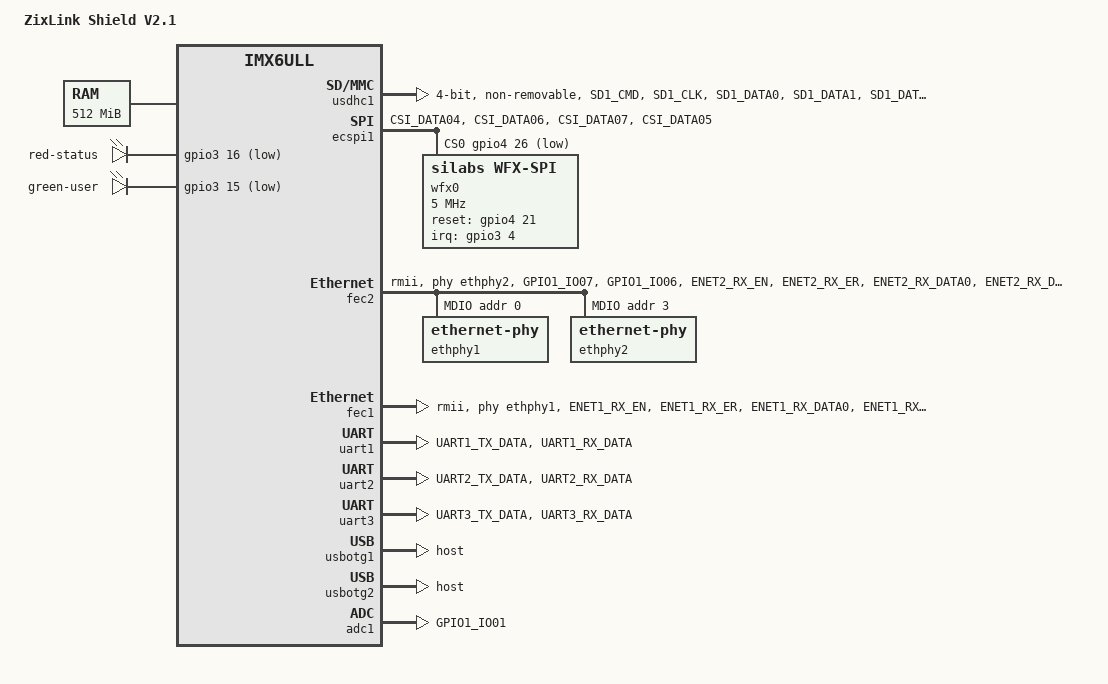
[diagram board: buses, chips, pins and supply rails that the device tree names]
/*
 * Copyright (C) 2020 ZixLink, LLC.
 *
 * This program is free software; you can redistribute it and/or modify
 * it under the terms of the GNU General Public License version 2 as
 * published by the Free Software Foundation.
 */

/dts-v1/;

#include <dt-bindings/input/input.h>
#include "imx6ull.dtsi"

/ {
	model = "ZixLink Shield V2.1";
	compatible = "fsl,zl-shield2-1", "fsl,imx6ull";

	memory {
		reg = <0x80000000 0x20000000>;
	};

	gpio-leds {
		compatible = "gpio-leds";
		pinctrl-names = "default";
		pinctrl-0 = <&pinctrl_leds>;

		status {
			label = "red-status";
			linux,default-trigger = "heartbeat";
			gpios = <&gpio3 16 GPIO_ACTIVE_LOW>;
		};

		user {
			label = "green-user";
			gpios = <&gpio3 15 GPIO_ACTIVE_LOW>;
		};
	};

	/*reg_usbotg1_vbus: regulator-usbotg1-vbus {
		compatible = "regulator-fixed";
		pinctrl-names = "default";
		pinctrl-0 = <&pinctrl_usbotg1_vbus>;
		regulator-name = "usbotg1_vbus";
		regulator-min-microvolt = <5000000>;
		regulator-max-microvolt = <5000000>;
		gpio = <&gpio1 2 GPIO_ACTIVE_HIGH>;
		enable-active-high;
	};*/
};

&usdhc1 {
	pinctrl-names = "default";
	pinctrl-0 = <&pinctrl_usdhc1>;

	bus-width = <4>;
	max-frequency = <50000000>;
	no-1-8-v;
	non-removable;
	disable-wp;
	keep-power-in-suspend;

	status = "okay";
};

&ecspi1 {
	pinctrl-names = "default";
	pinctrl-0 = <&pinctrl_ecspi1>;
	fsl,spi-num-chipselects = <2>;
	cs-gpios = <&gpio4 26 GPIO_ACTIVE_LOW>, <&gpio3 10 GPIO_ACTIVE_LOW>;
	status = "okay";

	#address-cells = <1>;
	#size-cells = <0>;

	wfx0: wfx@0 {
		compatible = "silabs,wfx-spi";
		reg = <0>;
		pinctrl-names = "default";
		pinctrl-0 = <&pinctrl_wfx0>;

		spi-max-frequency = <5000000>; /* 42000000 MAX */

		reset-gpios = <&gpio4 21 GPIO_ACTIVE_HIGH>;
		interrupts-extended = <&gpio3 4 IRQ_TYPE_EDGE_RISING>;
	};
};

&fec2 {
	pinctrl-names = "default";
	pinctrl-0 = <&pinctrl_enet2>;
	phy-mode = "rmii";
	phy-handle = <&ethphy2>;
	status = "okay";

	mdio {
		#address-cells = <1>;
		#size-cells = <0>;

		ethphy1: ethernet-phy@0 {
			reg = <0>;
			micrel,led-mode = <0>;
		};

		ethphy2: ethernet-phy@3 {
			reg = <3>;
			micrel,led-mode = <0>;
		};
	};
};

&fec1 {
	pinctrl-names = "default";
	pinctrl-0 = <&pinctrl_enet1>;
	phy-mode = "rmii";
	phy-handle = <&ethphy1>;
	status = "okay";
};

/*
USB PORT      gpio2        GPIO1_IO02
LTE_nPWRON    gpio67  C9   GPIO3_IO03
LTE_ON_10SEC  gpio76  D11  GPIO3_IO12
*/

&snvs_poweroff {
	status = "okay";
};

&uart1 {
	pinctrl-names = "default";
	pinctrl-0 = <&pinctrl_uart1>;
	status = "okay";
};

&uart2 {
	pinctrl-names = "default";
	pinctrl-0 = <&pinctrl_uart2>;
	status = "okay";
};

&uart3 {
	pinctrl-names = "default";
	pinctrl-0 = <&pinctrl_uart3>;
	status = "okay";
};

&usbotg1 {
	dr_mode = "host";
	status = "okay";
};

&usbotg2 {
	dr_mode = "host";
	status = "okay";
};

&usbphy1 {
	fsl,tx-d-cal = <106>;
};

&usbphy2 {
	fsl,tx-d-cal = <106>;
};

&adc1 {
	pinctrl-names = "default";
	pinctrl-0 = <&pinctrl_adc1>;
	num-channels = <2>;
	status = "okay";
};

&iomuxc {
	pinctrl-names = "default";

	pinctrl_ecspi1: ecspi1grp {
		fsl,pins = <
			MX6UL_PAD_CSI_DATA04__ECSPI1_SCLK		0xF0B0
			MX6UL_PAD_CSI_DATA06__ECSPI1_MOSI		0xF0B0
			MX6UL_PAD_CSI_DATA07__ECSPI1_MISO		0xF0B0
			MX6UL_PAD_CSI_DATA05__GPIO4_IO26		0xF0B0 /* WFX CS */
		>;
	};

	pinctrl_wfx0: wfx0grp {
		fsl,pins = <
			MX6UL_PAD_CSI_DATA00__GPIO4_IO21		0x30B0 /* WFX RESET */
			MX6UL_PAD_LCD_RESET__GPIO3_IO04			0xF0B0 /* WFX IRQ */
		>;
	};

	pinctrl_usdhc1: usdhc1grp {
		fsl,pins = <
			MX6UL_PAD_SD1_CMD__USDHC1_CMD        0x1f0f9
			MX6UL_PAD_SD1_CLK__USDHC1_CLK        0x100f9
			MX6UL_PAD_SD1_DATA0__USDHC1_DATA0    0x1f0f9
			MX6UL_PAD_SD1_DATA1__USDHC1_DATA1    0x1f0f9
			MX6UL_PAD_SD1_DATA2__USDHC1_DATA2    0x1f0f9
			MX6UL_PAD_SD1_DATA3__USDHC1_DATA3    0x1f0f9
		>;
	};

	pinctrl_enet1: enet1grp {
		fsl,pins = <
			MX6UL_PAD_ENET1_RX_EN__ENET1_RX_EN	0x1b0b0
			MX6UL_PAD_ENET1_RX_ER__ENET1_RX_ER	0x1b0b0
			MX6UL_PAD_ENET1_RX_DATA0__ENET1_RDATA00	0x1b0b0
			MX6UL_PAD_ENET1_RX_DATA1__ENET1_RDATA01	0x1b0b0
			MX6UL_PAD_ENET1_TX_EN__ENET1_TX_EN	0x1b0b0
			MX6UL_PAD_ENET1_TX_DATA0__ENET1_TDATA00	0x1b0b0
			MX6UL_PAD_ENET1_TX_DATA1__ENET1_TDATA01	0x1b0b0
			MX6UL_PAD_ENET1_TX_CLK__ENET1_REF_CLK1	0x4001b031
		>;
	};

	pinctrl_enet2: enet2grp {
		fsl,pins = <
			MX6UL_PAD_GPIO1_IO07__ENET2_MDC          0x1b0b0
			MX6UL_PAD_GPIO1_IO06__ENET2_MDIO         0x1b0b0
			MX6UL_PAD_ENET2_RX_EN__ENET2_RX_EN       0x1b0b0
			MX6UL_PAD_ENET2_RX_ER__ENET2_RX_ER       0x1b0b0
			MX6UL_PAD_ENET2_RX_DATA0__ENET2_RDATA00  0x1b0b0
			MX6UL_PAD_ENET2_RX_DATA1__ENET2_RDATA01  0x1b0b0
			MX6UL_PAD_ENET2_TX_EN__ENET2_TX_EN       0x1b0b0
			MX6UL_PAD_ENET2_TX_DATA0__ENET2_TDATA00  0x1b0b0
			MX6UL_PAD_ENET2_TX_DATA1__ENET2_TDATA01  0x1b0b0
			MX6UL_PAD_ENET2_TX_CLK__ENET2_REF_CLK2   0x4001b031
		>;
	};

	pinctrl_uart1: uart1grp {
		fsl,pins = <
			MX6UL_PAD_UART1_TX_DATA__UART1_DCE_TX 0x1b0b1
			MX6UL_PAD_UART1_RX_DATA__UART1_DCE_RX 0x1b0b1
		>;
	};

	pinctrl_uart2: uart2grp {
		fsl,pins = <
			MX6UL_PAD_UART2_TX_DATA__UART2_DCE_TX	0x1b0b1
			MX6UL_PAD_UART2_RX_DATA__UART2_DCE_RX	0x1b0b1
		>;
	};

	pinctrl_uart3: uart3grp {
		fsl,pins = <
			MX6UL_PAD_UART3_TX_DATA__UART3_DCE_TX	0x1b0b1
			MX6UL_PAD_UART3_RX_DATA__UART3_DCE_RX	0x1b0b1
		>;
	};

	pinctrl_adc1: adc1grp {
		fsl,pins = <
			MX6UL_PAD_GPIO1_IO01__GPIO1_IO01	0x000b0 /* Pull/Keeper Disabled */
			MX6UL_PAD_GPIO1_IO01__GPIO1_IO01	0x000b0 /* Pull/Keeper Disabled */
		>;
	};

	pinctrl_leds: ledsgrp {
		fsl,pins = <
			MX6UL_PAD_LCD_DATA11__GPIO3_IO16	0x0b0b0
			MX6UL_PAD_LCD_DATA10__GPIO3_IO15	0x0b0b0
		>;
	};

	pinctrl_usbotg1_vbus: usbotg1vbusgrp {
		fsl,pins = <
			MX6UL_PAD_GPIO1_IO02__GPIO1_IO02      0x30B0
		>;
	};
};
